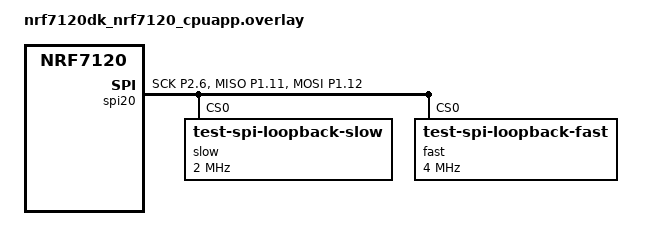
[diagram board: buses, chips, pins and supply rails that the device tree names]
/*
 * Copyright (c) 2025 Nordic Semiconductor ASA
 *
 * SPDX-License-Identifier: LicenseRef-Nordic-5-Clause
 */

/*
 * Test requires following loopback:
 * P1.11 - P1.12
 */

&pinctrl {
	spi20_default: spi20_default {
		group1 {
			psels = <NRF_PSEL(SPIM_SCK, 2, 6)>,
				<NRF_PSEL(SPIM_MISO, 1, 11)>,
				<NRF_PSEL(SPIM_MOSI, 1, 12)>;
			low-power-enable;
		};
	};

	spi20_sleep: spi20_sleep {
		group1 {
			psels = <NRF_PSEL(SPIM_SCK, 2, 6)>,
				<NRF_PSEL(SPIM_MISO, 1, 11)>,
				<NRF_PSEL(SPIM_MOSI, 1, 12)>;
			low-power-enable;
		};
	};
};

&spi20 {
	status = "okay";
	pinctrl-0 = <&spi20_default>;
	pinctrl-1 = <&spi20_sleep>;
	pinctrl-names = "default", "sleep";
	overrun-character = <0x00>;
	zephyr,pm-device-runtime-auto;
	slow@0 {
		compatible = "test-spi-loopback-slow";
		reg = <0>;
		spi-max-frequency = <DT_FREQ_M(2)>;
	};
	fast@0 {
		compatible = "test-spi-loopback-fast";
		reg = <0>;
		spi-max-frequency = <DT_FREQ_M(4)>;
	};
};

&gpio2 {
	status = "okay";
};

// UART20 disabled to avoid pin-conflicts with SPI20 + uses the same peripheral hardware block .

&uart20 {
	status = "disabled";
};
